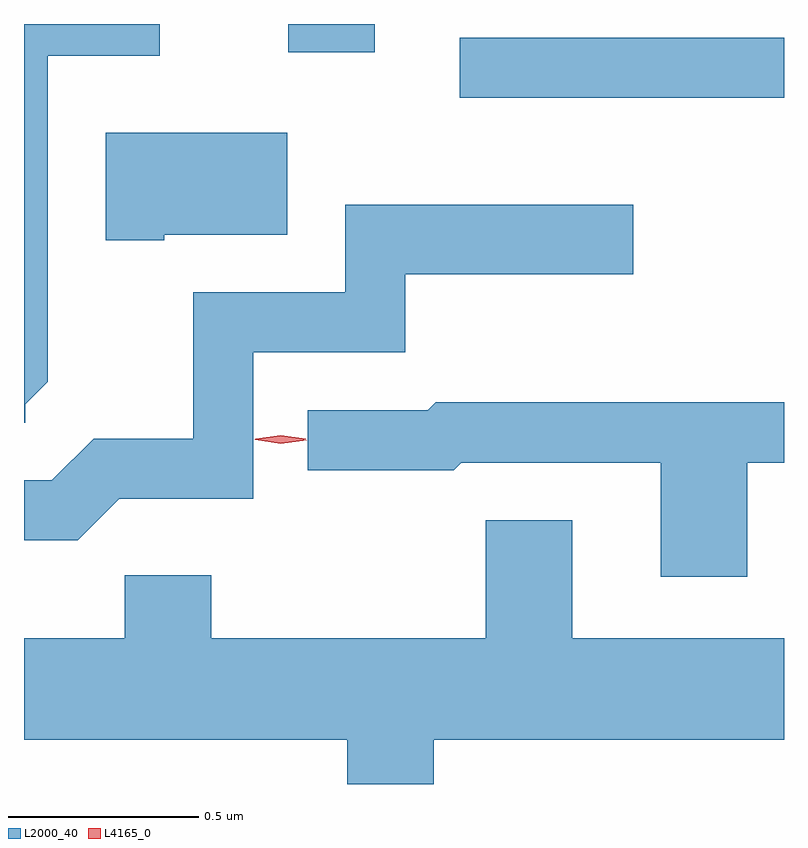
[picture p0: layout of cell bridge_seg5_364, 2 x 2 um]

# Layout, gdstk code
import gdstk
lib = gdstk.Library(unit=1e-6, precision=1e-09)
def R(c, l, rs):  # rectangles x0, y0, x1, y1
    for r in rs: c.add(gdstk.rectangle(r[:2], r[2:], *l))
def P(c, l, *ps):  # polygons
    for p in ps: c.add(gdstk.Polygon(p, *l))
L2000_40 = (2000, 40)
L4165_0 = (4165, 0)

bridge_seg5_364 = lib.new_cell('bridge_seg5_364')
R(bridge_seg5_364, L2000_40, [(806.253,1445.166,807.106,1445.324), (805.801,1445.286,806.029,1445.36)])
P(bridge_seg5_364, L2000_40, [(805.109,1444.359),(805.169,1444.419),(805.169,1445.276),(805.463,1445.276),(805.463,1445.36),(805.106,1445.36),(805.106,1444.311),(805.109,1444.311)],
  [(805.475,1444.806),(805.799,1444.806),(805.799,1445.074),(805.321,1445.074),(805.321,1444.791),(805.475,1444.791)],
  [(805.357,1444.111),(805.709,1444.111),(805.709,1444.496),(806.109,1444.496),(806.109,1444.701),(806.709,1444.701),(806.709,1444.884),(805.951,1444.884),(805.951,1444.654),(805.551,1444.654),(805.551,1444.269),(805.289,1444.269),(805.179,1444.159),(805.106,1444.159),(805.106,1444.001),(805.247,1444.001)],
  [(807.009,1444.206),(807.106,1444.206),(807.106,1444.364),(806.189,1444.364),(806.169,1444.344),(805.853,1444.344),(805.853,1444.186),(806.237,1444.186),(806.257,1444.206),(806.781,1444.206),(806.781,1443.906),(807.009,1443.906)],
  [(806.184,1443.476),(807.106,1443.476),(807.106,1443.744),(806.549,1443.744),(806.549,1444.054),(806.321,1444.054),(806.321,1443.744),(805.599,1443.744),(805.599,1443.909),(805.371,1443.909),(805.371,1443.744),(805.106,1443.744),(805.106,1443.476),(805.956,1443.476),(805.956,1443.36),(806.184,1443.36)])
P(bridge_seg5_364, L4165_0, [(805.782,1444.258),(805.716,1444.268),(805.716,1444.268),(805.716,1444.269),(805.782,1444.278),(805.847,1444.268),(805.847,1444.267),(805.847,1444.267)],
  [(805.782,1444.256),(805.714,1444.266),(805.713,1444.267),(805.714,1444.267),(805.782,1444.276),(805.85,1444.265),(805.85,1444.265),(805.85,1444.264)])

lib.write_gds('bridge_seg5_364.gds')
